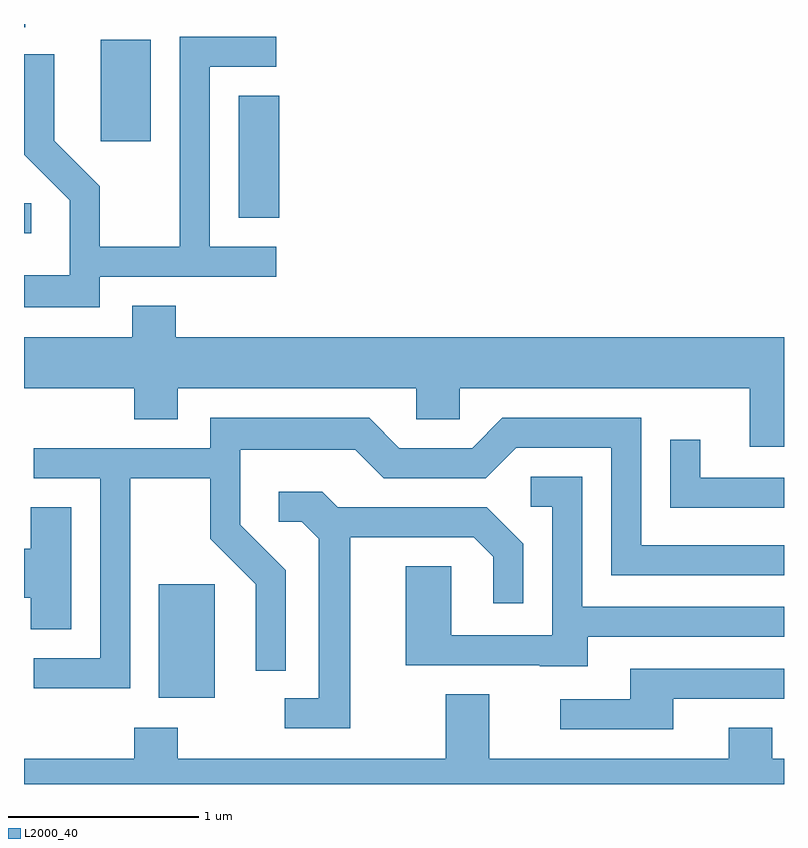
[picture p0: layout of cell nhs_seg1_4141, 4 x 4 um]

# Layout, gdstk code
import gdstk
lib = gdstk.Library(unit=1e-6, precision=1e-09)
def R(c, l, rs):  # rectangles x0, y0, x1, y1
    for r in rs: c.add(gdstk.rectangle(r[:2], r[2:], *l))
def P(c, l, *ps):  # polygons
    for p in ps: c.add(gdstk.Polygon(p, *l))
L2000_40 = (2000, 40)

nhs_seg1_4141 = lib.new_cell('nhs_seg1_4141')
R(nhs_seg1_4141, L2000_40, [(310.321,900.166,310.614,900.764), (309.611,902.611,309.648,902.769), (310.741,902.691,310.954,903.334), (310.016,903.096,310.279,903.629), (309.611,903.696,309.618,903.712)])
P(nhs_seg1_4141, L2000_40, [(310.009,902.381),(310.938,902.381),(310.938,902.539),(310.589,902.539),(310.589,903.486),(310.938,903.486),(310.938,903.644),(310.431,903.644),(310.431,902.539),(310.009,902.539),(310.009,902.857),(309.769,903.097),(309.769,903.553),(309.611,903.553),(309.611,903.024),(309.851,902.784),(309.851,902.389),(309.611,902.389),(309.611,902.221),(310.009,902.221)],
  [(313.611,902.064),(310.409,902.064),(310.409,902.229),(310.181,902.229),(310.181,902.064),(309.611,902.064),(309.611,901.796),(310.191,901.796),(310.191,901.631),(310.419,901.631),(310.419,901.796),(311.676,901.796),(311.676,901.631),(311.904,901.631),(311.904,901.796),(313.431,901.796),(313.431,901.486),(313.611,901.486)],
  [(310.169,901.321),(310.591,901.321),(310.591,901.004),(310.831,900.764),(310.831,900.308),(310.989,900.308),(310.989,900.837),(310.749,901.077),(310.749,901.471),(311.354,901.471),(311.504,901.321),(312.042,901.321),(312.202,901.481),(312.701,901.481),(312.701,900.811),(313.611,900.811),(313.611,900.969),(312.859,900.969),(312.859,901.639),(312.129,901.639),(311.969,901.479),(311.587,901.479),(311.427,901.639),(310.591,901.639),(310.591,901.479),(309.663,901.479),(309.663,901.321),(310.011,901.321),(310.011,900.374),(309.663,900.374),(309.663,900.216),(310.169,900.216)],
  [(313.611,901.324),(313.169,901.324),(313.169,901.523),(313.011,901.523),(313.011,901.166),(313.611,901.166)],
  [(312.579,900.486),(313.611,900.486),(313.611,900.644),(312.549,900.644),(312.549,901.329),(312.278,901.329),(312.278,901.171),(312.391,901.171),(312.391,900.494),(311.859,900.494),(311.859,900.859),(311.621,900.859),(311.621,900.336),(312.325,900.336),(312.325,900.331),(312.579,900.331)],
  [(311.329,901.011),(311.979,901.011),(312.081,900.909),(312.081,900.663),(312.239,900.663),(312.239,900.977),(312.047,901.169),(311.262,901.169),(311.182,901.249),(310.953,901.249),(310.953,901.091),(311.074,901.091),(311.161,901.004),(311.161,900.164),(310.983,900.164),(310.983,900.006),(311.329,900.006)],
  [(309.859,901.169),(309.646,901.169),(309.646,900.949),(309.611,900.949),(309.611,900.691),(309.646,900.691),(309.646,900.526),(309.859,900.526)],
  [(313.029,900.161),(313.611,900.161),(313.611,900.319),(312.801,900.319),(312.801,900.159),(312.433,900.159),(312.433,900.001),(313.029,900.001)],
  [(313.321,900.009),(313.321,899.844),(312.059,899.844),(312.059,900.184),(311.831,900.184),(311.831,899.844),(310.419,899.844),(310.419,900.009),(310.191,900.009),(310.191,899.844),(309.611,899.844),(309.611,899.712),(313.611,899.712),(313.611,899.844),(313.549,899.844),(313.549,900.009)])

lib.write_gds('nhs_seg1_4141.gds')
